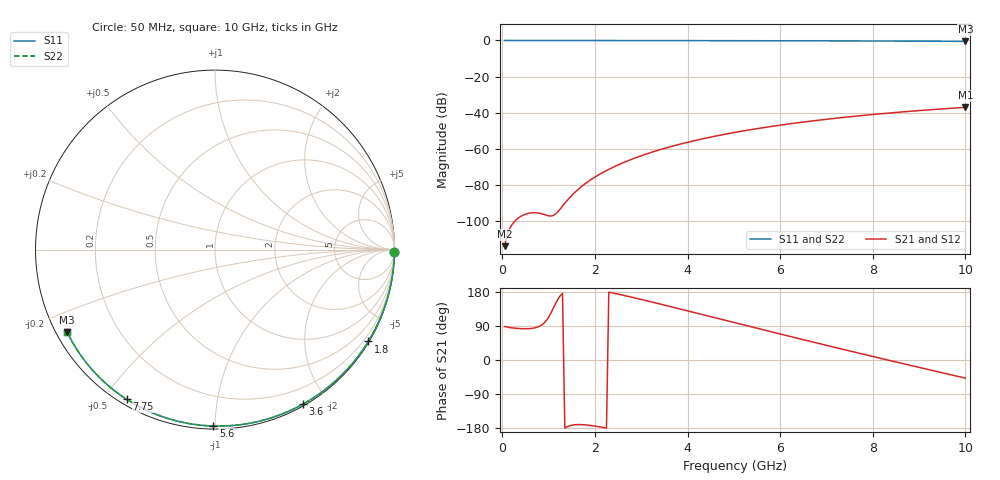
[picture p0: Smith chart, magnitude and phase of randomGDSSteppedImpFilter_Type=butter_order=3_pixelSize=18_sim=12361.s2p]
! freq	dB(S11)	phase(S11)	dB(S12)	phase(S12)
!  dB(S21)	phase(S21)	dB(S22)	phase(S22)
!S-par simulation data
#  GHz  S  DB  R 50
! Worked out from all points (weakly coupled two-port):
!   200 points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, 50 MHz to 10 GHz, reference 50 ohm
!   highest |S21| = -37.07 dB at 10 GHz (marker M1); lowest = -114.0 dB at 50 MHz (marker M2)
!   lowest |S11| = -0.5 dB at 10 GHz (marker M3), VSWR 34.31, Z = 1.56 - j13 ohm
!   |S11| at or under -10 dB: nowhere
!   |S22| runs from -0.5 to 0.0 dB; largest |S21 - S12| = 0
!   S11 on the Smith chart (normalised r, x): 50 MHz: open; 1.8 GHz: 0.03, -3.61; 3.6 GHz: 0.02, -1.72; 5.6 GHz: 0.02, -0.99; 7.75 GHz: 0.02, -0.57; 10 GHz: 0.03, -0.26
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0.05  -0.00 -0.9  -114.04 88.4  -114.04 88.4  -0.00 -0.9
0.45  -0.01 -7.9  -96.83 82.5  -96.83 82.5  -0.01 -7.9
0.9  -0.02 -15.6  -96.46 97.2  -96.46 97.2  -0.02 -15.6
1.3  -0.03 -22.5  -91.82 175.8  -91.82 175.8  -0.03 -22.5
1.75  -0.04 -30.1  -80.18 -170.8  -80.18 -170.8  -0.04 -30.1
1.8  -0.04 -31.0  -79.20 -171.3  -79.20 -171.3  -0.04 -31.0
1.95  -0.04 -33.5  -76.55 -173.4  -76.55 -173.4  -0.04 -33.5
2.1  -0.05 -36.0  -74.21 -176.3  -74.21 -176.3  -0.05 -36.0
2.3  -0.05 -39.3  -71.44 179.0  -71.44 179.0  -0.05 -39.3
2.5  -0.05 -42.6  -69.00 173.9  -69.00 173.9  -0.05 -42.6
2.9  -0.06 -49.1  -64.83 162.7  -64.83 162.7  -0.06 -49.1
3.4  -0.08 -57.2  -60.59 147.9  -60.59 147.9  -0.08 -57.2
3.6  -0.08 -60.3  -59.11 141.9  -59.11 141.9  -0.08 -60.3
4.3  -0.10 -71.2  -54.67 120.5  -54.67 120.5  -0.10 -71.2
5.05  -0.13 -82.5  -50.84 97.5  -50.84 97.5  -0.13 -82.5
5.6  -0.15 -90.5  -48.48 80.7  -48.48 80.7  -0.15 -90.5
6.15  -0.18 -98.4  -46.42 64.1  -46.42 64.1  -0.18 -98.4
6.7  -0.21 -106.1  -44.60 47.6  -44.60 47.6  -0.21 -106.1
7.75  -0.28 -120.5  -41.66 16.6  -41.66 16.6  -0.28 -120.5
8.35  -0.33 -128.6  -40.23 -0.9  -40.23 -0.9  -0.33 -128.6
9.2  -0.41 -140.1  -38.48 -25.2  -38.48 -25.2  -0.41 -140.1
10  -0.51 -150.9  -37.07 -47.8  -37.07 -47.8  -0.51 -150.9
